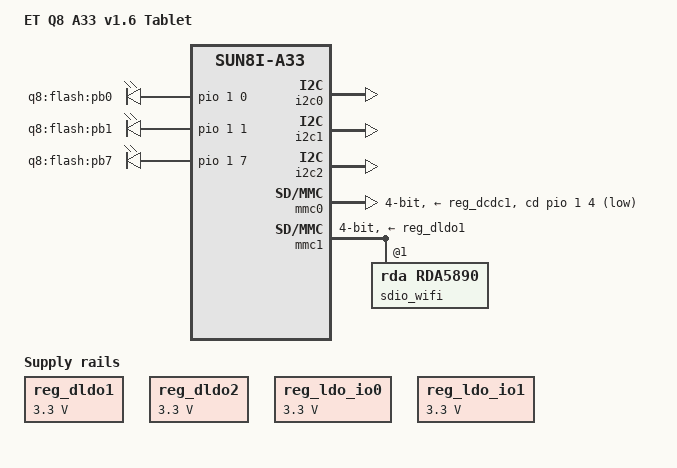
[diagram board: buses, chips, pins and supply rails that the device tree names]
// SPDX-License-Identifier: (GPL-2.0+ OR MIT)
/dts-v1/;
#include "sun8i-a33-q8-tablet.dts"
#include <dt-bindings/clock/sun6i-rtc.h>

/ {
	model = "ET Q8 A33 v1.6 Tablet";
	compatible = "allwinner,sun8i-a33-et-q8-v1.6", "allwinner,q8-a33", "allwinner,sun8i-a33";

	leds {
		compatible = "gpio-leds";

		flash_pb0 {
			label = "q8:flash:pb0";
			gpios = <&pio 1 0 GPIO_ACTIVE_HIGH>; /* PB0 */
			default-state = "off";
		};

		flash_pb1 {
			label = "q8:flash:pb1";
			gpios = <&pio 1 1 GPIO_ACTIVE_HIGH>; /* PB1 */
			default-state = "off";
		};

		flash_pb7 {
			label = "q8:flash:pb7";
			gpios = <&pio 1 7 GPIO_ACTIVE_HIGH>; /* PB7 */
			default-state = "off";
		};
	};
};

&rtc {
	/delete-property/ clocks;
	assigned-clocks = <&rtc CLK_OSC32K_FANOUT>;
	assigned-clock-rates = <32768>;
};

&i2c0 {
	status = "okay";
};

&i2c1 {
	status = "okay";
};

&i2c2 {
	status = "okay";
};

&mmc0 {
	vmmc-supply = <&reg_dcdc1>;
	bus-width = <4>;
	cd-gpios = <&pio 1 4 GPIO_ACTIVE_LOW>; /* PB4 */
	broken-cd;
	status = "okay";
};

&mmc1 {
	vmmc-supply = <&reg_dldo1>;
	vqmmc-supply = <&reg_dldo2>;
	/delete-property/ mmc-pwrseq;
	bus-width = <4>;
	broken-cd;
	/delete-property/ non-removable;
	cap-sdio-irq;
	keep-power-in-suspend;
	status = "okay";

	sdio_wifi: sdio_wifi@1 {
		reg = <1>;
		compatible = "rda,rda5890";
	};
};

&pio {
	vcc-pg-supply = <&reg_dldo1>;
};

&reg_dldo1 {
	regulator-always-on;
	regulator-min-microvolt = <3300000>;
	regulator-max-microvolt = <3300000>;
	regulator-name = "vcc-wifi";
};

&reg_dldo2 {
	regulator-always-on;
	regulator-min-microvolt = <3300000>;
	regulator-max-microvolt = <3300000>;
	regulator-name = "vcc-wifi-ext";
};

&reg_ldo_io0 {
	regulator-always-on;
	regulator-min-microvolt = <3300000>;
	regulator-max-microvolt = <3300000>;
	regulator-name = "vcc-wifi-power-switch";
	status = "okay";
};

&reg_ldo_io1 {
	regulator-always-on;
	regulator-min-microvolt = <3300000>;
	regulator-max-microvolt = <3300000>;
	regulator-name = "vcc-touchscreen";
	status = "okay";
};
